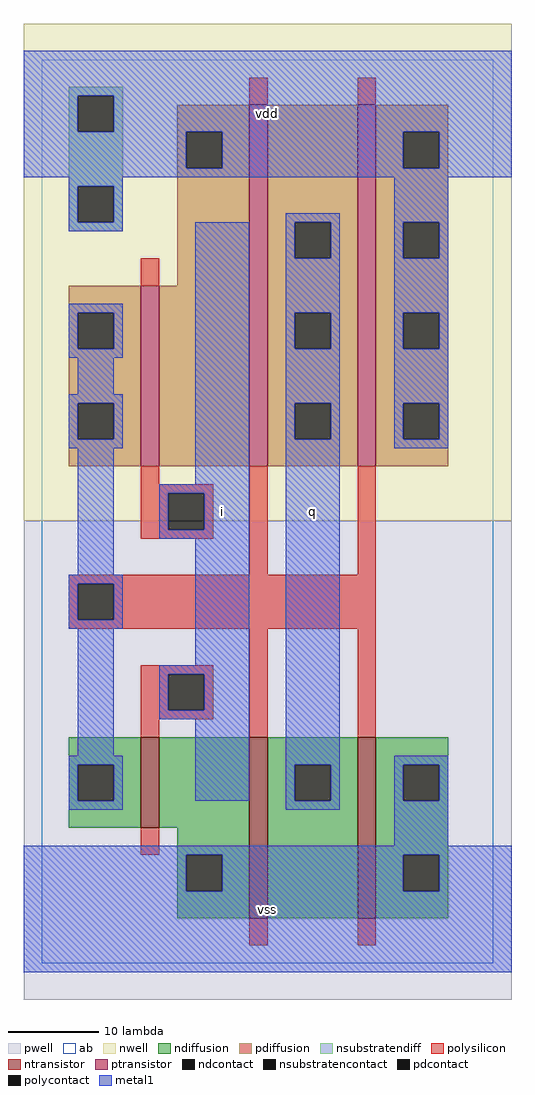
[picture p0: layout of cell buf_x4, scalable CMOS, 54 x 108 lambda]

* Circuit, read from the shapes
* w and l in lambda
.subckt buf_x4 i q vdd vss
M1 vss i n1 VSUBS nfet w=10 l=2
M2 q n1 vss VSUBS nfet w=20 l=2 m=2
M3 vdd i n1 vdd pfet w=20 l=2
M4 q n1 vdd vdd pfet w=40 l=2 m=2
.ends

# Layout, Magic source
magic
tech scmos
<< ab >>
rect 0 0 50 100
<< pwell >>
rect -2 -4 52 49
<< nwell >>
rect -2 49 52 104
<< polysilicon >>
rect 23 95 25 98
rect 35 95 37 98
rect 11 75 13 78
rect 11 53 13 55
rect 11 52 19 53
rect 11 48 14 52
rect 18 48 19 52
rect 11 47 19 48
rect 23 43 25 55
rect 35 43 37 55
rect 3 42 37 43
rect 3 38 4 42
rect 8 38 37 42
rect 3 37 37 38
rect 11 32 19 33
rect 11 28 14 32
rect 18 28 19 32
rect 11 27 19 28
rect 11 25 13 27
rect 23 25 25 37
rect 35 25 37 37
rect 11 12 13 15
rect 23 2 25 5
rect 35 2 37 5
<< ndiffusion >>
rect 3 22 11 25
rect 3 18 4 22
rect 8 18 11 22
rect 3 15 11 18
rect 13 15 23 25
rect 15 12 23 15
rect 15 8 16 12
rect 20 8 23 12
rect 15 5 23 8
rect 25 22 35 25
rect 25 18 28 22
rect 32 18 35 22
rect 25 5 35 18
rect 37 22 45 25
rect 37 18 40 22
rect 44 18 45 22
rect 37 12 45 18
rect 37 8 40 12
rect 44 8 45 12
rect 37 5 45 8
<< pdiffusion >>
rect 15 92 23 95
rect 15 88 16 92
rect 20 88 23 92
rect 15 75 23 88
rect 3 72 11 75
rect 3 68 4 72
rect 8 68 11 72
rect 3 62 11 68
rect 3 58 4 62
rect 8 58 11 62
rect 3 55 11 58
rect 13 55 23 75
rect 25 82 35 95
rect 25 78 28 82
rect 32 78 35 82
rect 25 72 35 78
rect 25 68 28 72
rect 32 68 35 72
rect 25 62 35 68
rect 25 58 28 62
rect 32 58 35 62
rect 25 55 35 58
rect 37 92 45 95
rect 37 88 40 92
rect 44 88 45 92
rect 37 82 45 88
rect 37 78 40 82
rect 44 78 45 82
rect 37 72 45 78
rect 37 68 40 72
rect 44 68 45 72
rect 37 62 45 68
rect 37 58 40 62
rect 44 58 45 62
rect 37 55 45 58
<< metal1 >>
rect -2 96 52 101
rect -2 92 4 96
rect 8 92 52 96
rect -2 88 16 92
rect 20 88 40 92
rect 44 88 52 92
rect -2 87 52 88
rect 3 86 9 87
rect 3 82 4 86
rect 8 82 9 86
rect 27 82 33 83
rect 3 81 9 82
rect 3 72 9 73
rect 3 68 4 72
rect 8 68 9 72
rect 3 67 9 68
rect 4 63 8 67
rect 3 62 9 63
rect 3 58 4 62
rect 8 58 9 62
rect 3 57 9 58
rect 4 43 8 57
rect 17 53 23 82
rect 13 52 23 53
rect 13 48 14 52
rect 18 48 23 52
rect 13 47 23 48
rect 3 42 9 43
rect 3 38 4 42
rect 8 38 9 42
rect 3 37 9 38
rect 4 23 8 37
rect 17 33 23 47
rect 13 32 23 33
rect 13 28 14 32
rect 18 28 23 32
rect 13 27 23 28
rect 3 22 9 23
rect 3 18 4 22
rect 8 18 9 22
rect 17 18 23 27
rect 27 78 28 82
rect 32 78 33 82
rect 27 72 33 78
rect 27 68 28 72
rect 32 68 33 72
rect 27 62 33 68
rect 27 58 28 62
rect 32 58 33 62
rect 27 22 33 58
rect 39 82 45 87
rect 39 78 40 82
rect 44 78 45 82
rect 39 72 45 78
rect 39 68 40 72
rect 44 68 45 72
rect 39 62 45 68
rect 39 58 40 62
rect 44 58 45 62
rect 39 57 45 58
rect 27 18 28 22
rect 32 18 33 22
rect 3 17 9 18
rect 27 17 33 18
rect 39 22 45 23
rect 39 18 40 22
rect 44 18 45 22
rect 39 13 45 18
rect -2 12 52 13
rect -2 8 16 12
rect 20 8 40 12
rect 44 8 52 12
rect -2 -1 52 8
<< ntransistor >>
rect 11 15 13 25
rect 23 5 25 25
rect 35 5 37 25
<< ptransistor >>
rect 11 55 13 75
rect 23 55 25 95
rect 35 55 37 95
<< polycontact >>
rect 14 48 18 52
rect 4 38 8 42
rect 14 28 18 32
<< ndcontact >>
rect 4 18 8 22
rect 16 8 20 12
rect 28 18 32 22
rect 40 18 44 22
rect 40 8 44 12
<< pdcontact >>
rect 16 88 20 92
rect 4 68 8 72
rect 4 58 8 62
rect 28 78 32 82
rect 28 68 32 72
rect 28 58 32 62
rect 40 88 44 92
rect 40 78 44 82
rect 40 68 44 72
rect 40 58 44 62
<< nsubstratencontact >>
rect 4 92 8 96
rect 4 82 8 86
<< nsubstratendiff >>
rect 3 96 9 97
rect 3 92 4 96
rect 8 92 9 96
rect 3 86 9 92
rect 3 82 4 86
rect 8 82 9 86
rect 3 81 9 82
<< labels >>
rlabel metal1 20 50 20 50 6 i
rlabel metal1 20 50 20 50 6 i
rlabel metal1 25 6 25 6 6 vss
rlabel metal1 25 6 25 6 6 vss
rlabel metal1 30 50 30 50 6 q
rlabel metal1 30 50 30 50 6 q
rlabel metal1 25 94 25 94 6 vdd
rlabel metal1 25 94 25 94 6 vdd
<< end >>
